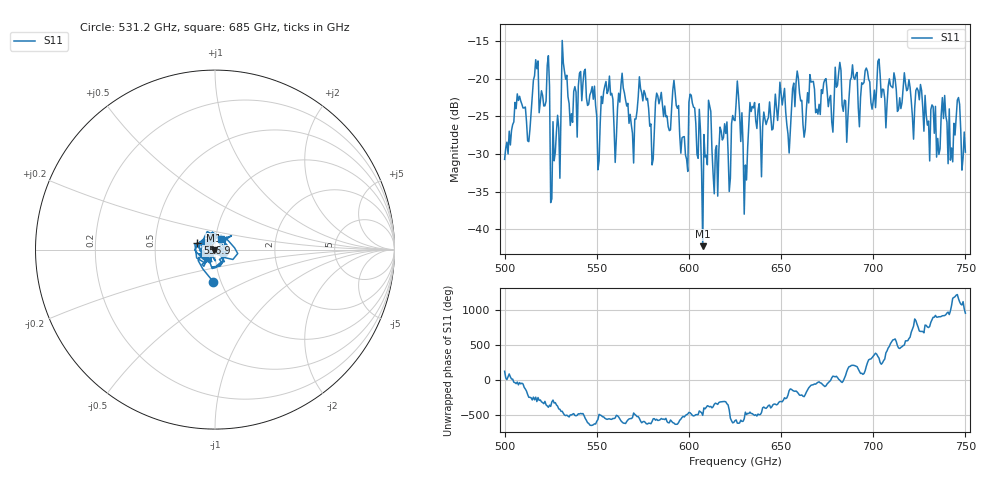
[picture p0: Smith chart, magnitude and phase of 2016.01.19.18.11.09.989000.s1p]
!Created with skrf (http://scikit-rf.org).
# GHz S RI R 50.0
!freq ReS11 ImS11
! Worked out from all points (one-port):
!   401 points, 500 GHz to 750 GHz, reference 50 ohm
!   lowest |S11| = -42.2 dB at 607.5 GHz (marker M1), VSWR 1.02, Z = 49.3 - j0.366 ohm
!   |S11| at or under -10 dB: start of sweep to end of sweep
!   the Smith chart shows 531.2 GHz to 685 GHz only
!   S11 on the Smith chart (normalised r, x): 531.2 GHz: 0.92, -0.34; 556.9 GHz: 0.82, +0.06; 685 GHz: 1.07, +0.13
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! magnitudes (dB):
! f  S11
! 500 GHz  -30.7
! 506.9 GHz  -22.0
! 513.1 GHz  -28.3
! 516.9 GHz  -17.5
! 523.1 GHz  -18.2
! 526.2 GHz  -25.7
! 531.2 GHz  -14.9
! 542.5 GHz  -20.6
! 550.6 GHz  -32.1
! 556.9 GHz  -19.6
! 560 GHz  -31.1
! 562.5 GHz  -23.1
! 580 GHz  -31.4
! 593.8 GHz  -23.9
! 598.1 GHz  -30.1
! 601.9 GHz  -23.2
! 607.5 GHz  -42.2
! 611.2 GHz  -23.6
! 622.5 GHz  -33.2
! 625 GHz  -25.6
! 630.6 GHz  -31.5
! 634.4 GHz  -23.7
! 656.2 GHz  -21.3
! 680.6 GHz  -20.8
! 685 GHz  -22.9
! 687.5 GHz  -20.2
! 718.8 GHz  -21.4
! 750 GHz  -29.7
